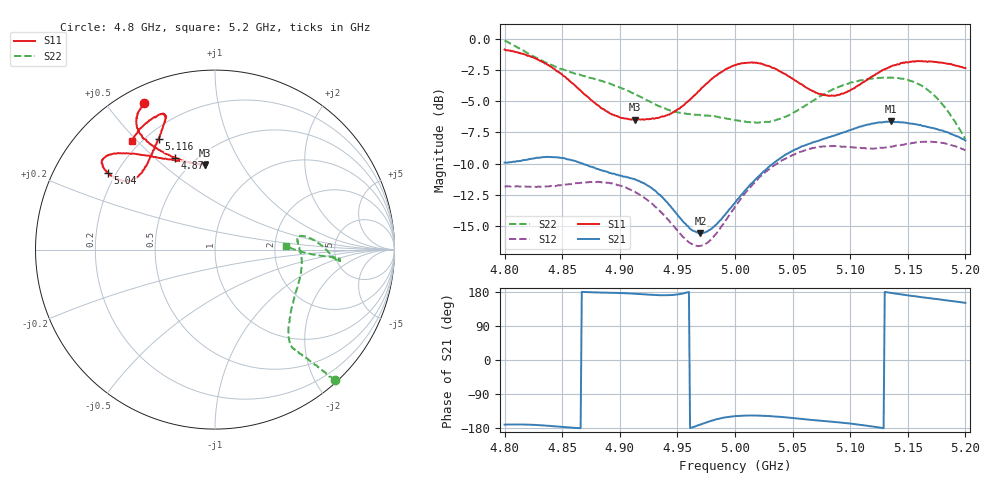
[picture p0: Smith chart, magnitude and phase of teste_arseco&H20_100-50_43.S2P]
! Network Analyzer HP8722D
! Hewlett-Packard
! Data name: Linha & Wilkinson
! Saver's name: Rodrigo Anjos
! Comments: Teste da utilização de aquisição
! continua pelo VNA HP8722D
! Time and date: 6/5/2025 12:55
!  Frequency  S11  S21  S12  S22
# HZ  S  MA R 50
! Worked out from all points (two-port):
!   401 points, 4.8 GHz to 5.2 GHz, reference 50 ohm
!   highest |S21| = -6.62 dB at 5.135 GHz (marker M1); lowest = -15.6 dB at 4.97 GHz (marker M2)
!   |S21| within 3 dB of the highest: 4.823 GHz to 4.853 GHz (30.82 MHz wide, 0.637 % of centre); 5.039 GHz to end of sweep
!   lowest |S11| = -6.5 dB at 4.913 GHz (marker M3), VSWR 2.80, Z = 28.9 + j35.1 ohm
!   |S11| at or under -10 dB: nowhere
!   |S22| runs from -8.0 to -0.1 dB; largest |S21 - S12| = 0.83
!   S11 on the Smith chart (normalised r, x): 4.8 GHz: 0.07, +0.62; 4.877 GHz: 0.39, +0.58; 5.04 GHz: 0.17, +0.31; 5.116 GHz: 0.25, +0.59; 5.2 GHz: 0.17, +0.48
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4.8e9  0.9053 115.9  0.3194 -170.4  0.2564 -85.9  0.9845 -47.4
4.834e9  0.8024 122.7  0.3359 -172.6  0.2559 -76.7  0.8103 -49.6
4.846e9  0.7409 122.8  0.3351 -175.4  0.2589 -72.7  0.7672 -50.3
4.867e9  0.6125 117.9  0.3169 179.7  0.2652 -67.2  0.7135 -51.4
4.877e9  0.5598 113.6  0.3053 178.6  0.2673 -66.0  0.6931 -51.7
4.898e9  0.4894 102.4  0.2857 177.0  0.2595 -66.3  0.645 -50.3
4.913e9  0.4739 97.1  0.2741 174.7  0.2443 -67.7  0.5997 -47.0
4.934e9  0.4821 99.3  0.2384 170.9  0.2068 -69.3  0.537 -37.4
4.95e9  0.5204 109.6  0.1972 173.0  0.171 -65.2  0.5078 -26.8
4.97e9  0.6263 124.1  0.1663 -170.4  0.1483 -46.2  0.495 -14.2
4.981e9  0.6966 130.0  0.176 -159.2  0.1606 -33.7  0.4878 -8.6
5e9  0.7842 137.4  0.2204 -148.4  0.2128 -21.2  0.4725 -0.2
5.019e9  0.8008 141.9  0.277 -146.6  0.2716 -18.3  0.4604 5.9
5.04e9  0.7366 144.4  0.3343 -150.2  0.3237 -18.2  0.4799 9.0
5.067e9  0.6194 142.1  0.384 -158.1  0.3649 -20.4  0.5614 4.7
5.088e9  0.5928 132.8  0.413 -164.0  0.3715 -23.5  0.6362 -1.6
5.116e9  0.6925 116.9  0.4541 -174.2  0.3648 -26.6  0.6893 -5.2
5.134e9  0.7684 111.2  0.4653 177.8  0.3688 -28.6  0.6989 -4.7
5.135e9  0.7744 111.0  0.4666 177.4  0.3698 -28.6  0.699 -4.6
5.161e9  0.8136 112.4  0.4522 166.1  0.3859 -34.9  0.6535 -3.6
5.18e9  0.8011 118.9  0.429 158.8  0.3827 -40.8  0.5477 -2.8
5.2e9  0.7628 127.4  0.3911 150.8  0.358 -46.1  0.3961 2.6
